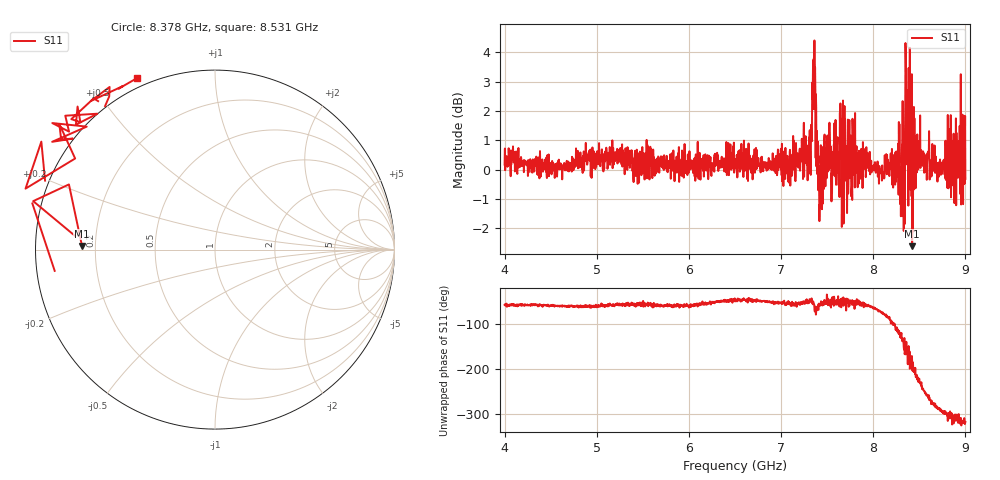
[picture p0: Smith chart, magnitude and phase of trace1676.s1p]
! Created with skrf 1.8.0 (http://scikit-rf.org).
# Hz S RI R 50.0
!freq ReS11 ImS11
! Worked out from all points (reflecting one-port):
!   1601 points, 4 GHz to 9 GHz, reference 50 ohm
!   lowest |S11| = -2.6 dB at 8.422 GHz (marker M1), VSWR 6.73, Z = 7.43 + j0.646 ohm
!   phase of S11 starts at -57 deg and turns -262 deg over the sweep
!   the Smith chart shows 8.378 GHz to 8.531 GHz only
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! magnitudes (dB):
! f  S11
! 4 GHz  0.2
! 4.625 GHz  -0.3
! 5.25 GHz  0.3
! 5.875 GHz  0.3
! 6.5 GHz  0.4
! 7.125 GHz  0.4
! 7.297 GHz  0.8
! 7.356 GHz  3.8
! 7.381 GHz  2.1
! 7.4 GHz  1.0
! 7.428 GHz  0.2
! 7.509 GHz  0.0
! 7.572 GHz  0.9
! 7.662 GHz  -0.5
! 7.75 GHz  0.3
! 7.891 GHz  0.3
! 8.097 GHz  0.1
! 8.262 GHz  -0.2
! 8.316 GHz  -0.2
! 8.331 GHz  -2.1
! 8.375 GHz  1.0
! 8.406 GHz  -0.5
! 8.422 GHz  -2.6
! 8.712 GHz  0.3
! 8.816 GHz  -0.6
! 8.869 GHz  0.0
! 8.972 GHz  0.6
! 9 GHz  -0.3
